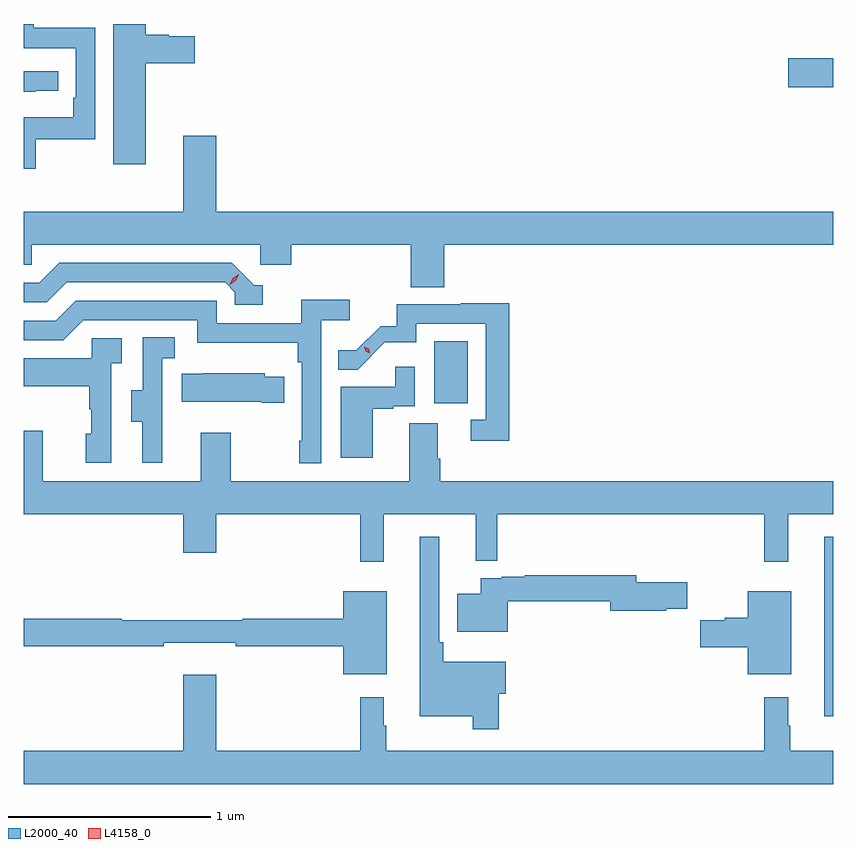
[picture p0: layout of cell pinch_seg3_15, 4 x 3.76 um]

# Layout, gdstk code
import gdstk
lib = gdstk.Library(unit=1e-6, precision=1e-09)
def R(c, l, rs):  # rectangles x0, y0, x1, y1
    for r in rs: c.add(gdstk.rectangle(r[:2], r[2:], *l))
def P(c, l, *ps):  # polygons
    for p in ps: c.add(gdstk.Polygon(p, *l))
L2000_40 = (2000, 40)
L4158_0 = (4158, 0)

pinch_seg3_15 = lib.new_cell('pinch_seg3_15')
R(pinch_seg3_15, L2000_40, [(1127.216,730.556,1127.261,731.443), (1125.29,732.102,1125.454,732.409), (1127.04,733.664,1127.261,733.806)])
P(pinch_seg3_15, L2000_40, [(1123.864,733.781),(1124.107,733.781),(1124.107,733.915),(1123.977,733.915),(1123.977,733.923),(1123.864,733.923),(1123.864,733.976),(1123.703,733.976),(1123.703,733.284),(1123.864,733.284)],
  [(1123.321,733.407),(1123.614,733.407),(1123.614,733.958),(1123.309,733.958),(1123.309,733.976),(1123.261,733.976),(1123.261,733.857),(1123.518,733.857),(1123.518,733.612),(1123.505,733.612),(1123.505,733.516),(1123.261,733.516),(1123.261,733.26),(1123.321,733.26)],
  [(1123.319,733.647),(1123.432,733.647),(1123.432,733.743),(1123.261,733.743),(1123.261,733.642),(1123.319,733.642)],
  [(1125.338,732.884),(1127.261,732.884),(1127.261,733.048),(1124.212,733.048),(1124.212,733.423),(1124.048,733.423),(1124.048,733.048),(1123.261,733.048),(1123.261,732.786),(1123.299,732.786),(1123.299,732.884),(1124.43,732.884),(1124.43,732.786),(1124.582,732.786),(1124.582,732.884),(1125.173,732.884),(1125.173,732.676),(1125.338,732.676)],
  [(1124.443,732.684),(1124.4,732.684),(1124.289,732.795),(1123.436,732.795),(1123.337,732.696),(1123.261,732.696),(1123.261,732.6),(1123.374,732.6),(1123.473,732.699),(1124.256,732.699),(1124.304,732.651),(1124.304,732.588),(1124.443,732.588)],
  [(1124.73,732.512),(1124.872,732.512),(1124.872,732.614),(1124.633,732.614),(1124.633,732.498),(1124.214,732.498),(1124.214,732.609),(1123.517,732.609),(1123.418,732.51),(1123.261,732.51),(1123.261,732.414),(1123.455,732.414),(1123.554,732.513),(1124.118,732.513),(1124.118,732.401),(1124.614,732.401),(1124.614,732.305),(1124.634,732.305),(1124.634,731.917),(1124.622,731.917),(1124.622,731.805),(1124.73,731.805)],
  [(1125.659,732.596),(1125.421,732.596),(1125.421,732.591),(1125.103,732.591),(1125.103,732.482),(1125.024,732.482),(1124.905,732.363),(1124.815,732.363),(1124.815,732.268),(1124.911,732.268),(1125.045,732.402),(1125.201,732.402),(1125.201,732.495),(1125.543,732.495),(1125.543,732.021),(1125.471,732.021),(1125.471,731.916),(1125.659,731.916)],
  [(1123.946,732.021),(1123.944,732.021),(1123.944,732.325),(1124.008,732.325),(1124.008,732.428),(1123.848,732.428),(1123.848,732.165),(1123.793,732.165),(1123.793,732.01),(1123.847,732.01),(1123.847,731.808),(1123.946,731.808)],
  [(1123.692,732.299),(1123.744,732.299),(1123.744,732.423),(1123.596,732.423),(1123.596,732.325),(1123.261,732.325),(1123.261,732.185),(1123.584,732.185),(1123.584,732.071),(1123.594,732.071),(1123.594,731.952),(1123.568,731.952),(1123.568,731.808),(1123.692,731.808)],
  [(1124.986,732.075),(1125.086,732.075),(1125.086,732.087),(1125.192,732.087),(1125.192,732.283),(1125.096,732.283),(1125.096,732.183),(1124.828,732.183),(1124.828,731.832),(1124.986,731.832)],
  [(1124.549,732.232),(1124.451,732.232),(1124.451,732.25),(1124.149,732.25),(1124.149,732.247),(1124.041,732.247),(1124.041,732.11),(1124.438,732.11),(1124.438,732.103),(1124.549,732.103)],
  [(1125.041,731.552),(1125.494,731.552),(1125.494,731.323),(1125.602,731.323),(1125.602,731.552),(1126.921,731.552),(1126.921,731.319),(1127.039,731.319),(1127.039,731.552),(1127.261,731.552),(1127.261,731.716),(1125.32,731.716),(1125.32,731.828),(1125.307,731.828),(1125.307,732.002),(1125.167,732.002),(1125.167,731.716),(1124.283,731.716),(1124.283,731.956),(1124.135,731.956),(1124.135,731.716),(1123.355,731.716),(1123.355,731.965),(1123.261,731.965),(1123.261,731.552),(1124.048,731.552),(1124.048,731.364),(1124.212,731.364),(1124.212,731.552),(1124.923,731.552),(1124.923,731.319),(1125.041,731.319)],
  [(1125.608,730.667),(1125.643,730.667),(1125.643,730.825),(1125.335,730.825),(1125.335,730.921),(1125.315,730.921),(1125.315,731.443),(1125.218,731.443),(1125.218,730.556),(1125.48,730.556),(1125.48,730.491),(1125.608,730.491)],
  [(1125.653,731.122),(1126.16,731.122),(1126.16,731.075),(1126.436,731.075),(1126.436,731.087),(1126.541,731.087),(1126.541,731.217),(1126.288,731.217),(1126.288,731.251),(1125.736,731.251),(1125.736,731.244),(1125.622,731.244),(1125.622,731.238),(1125.518,731.238),(1125.518,731.161),(1125.404,731.161),(1125.404,730.973),(1125.653,730.973)],
  [(1127.053,731.173),(1126.838,731.173),(1126.838,731.042),(1126.725,731.042),(1126.725,731.029),(1126.603,731.029),(1126.603,730.895),(1126.838,730.895),(1126.838,730.763),(1127.053,730.763)],
  [(1125.055,731.173),(1124.84,731.173),(1124.84,731.036),(1124.344,731.036),(1124.344,731.029),(1123.744,731.029),(1123.744,731.036),(1123.261,731.036),(1123.261,730.9),(1123.952,730.9),(1123.952,730.919),(1124.308,730.919),(1124.308,730.9),(1124.84,730.9),(1124.84,730.763),(1125.055,730.763)],
  [(1127.261,730.384),(1127.05,730.384),(1127.05,730.508),(1127.038,730.508),(1127.038,730.648),(1126.921,730.648),(1126.921,730.384),(1125.052,730.384),(1125.052,730.508),(1125.04,730.508),(1125.04,730.648),(1124.923,730.648),(1124.923,730.384),(1124.212,730.384),(1124.212,730.759),(1124.048,730.759),(1124.048,730.384),(1123.261,730.384),(1123.261,730.22),(1127.261,730.22)])
P(pinch_seg3_15, L4158_0, [(1124.971,732.349),(1124.95,732.358),(1124.944,732.38),(1124.944,732.38),(1124.944,732.38),(1124.965,732.371),(1124.971,732.35),(1124.971,732.349)],
  [(1124.278,732.687),(1124.278,732.687),(1124.293,732.72),(1124.323,732.74),(1124.324,732.74),(1124.324,732.74),(1124.308,732.707),(1124.278,732.687)])

lib.write_gds('pinch_seg3_15.gds')
